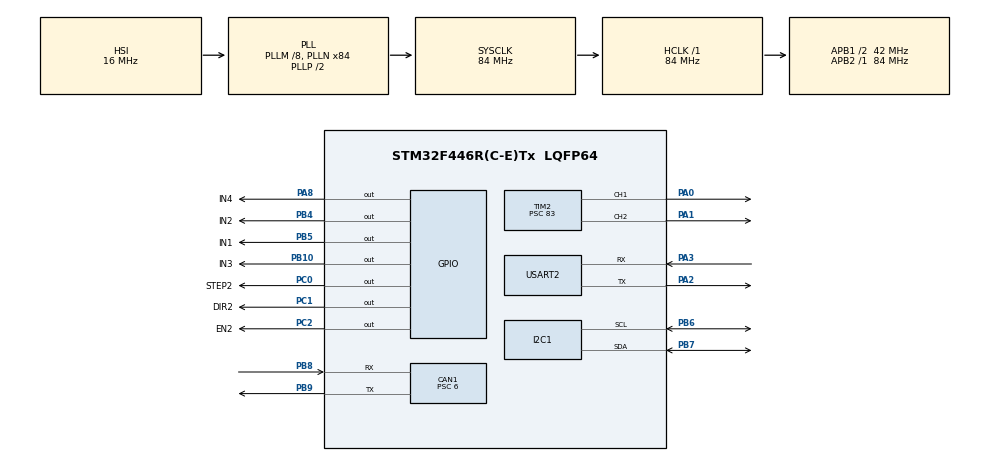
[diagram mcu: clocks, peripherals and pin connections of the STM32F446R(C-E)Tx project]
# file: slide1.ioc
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CAN1.BS1=CAN_BS1_11TQ
CAN1.BS2=CAN_BS2_2TQ
CAN1.CalculateBaudRate=500000
CAN1.CalculateTimeBit=2000
CAN1.CalculateTimeQuantum=142.85714285714286
CAN1.Prescaler=6
Mcu.Family=STM32F4
Mcu.Name=STM32F446R(C-E)Tx
Mcu.Package=LQFP64
NVIC.CAN1_RX0_IRQn=true\:0\:0\:false\:false\:true\:true\:true\:true
NVIC.CAN1_TX_IRQn=true\:0\:0\:false\:false\:true\:true\:true\:true
NVIC.PriorityGroup=NVIC_PRIORITYGROUP_4
PA0-WKUP.Signal=S_TIM2_CH1_ETR
PA1.Signal=S_TIM2_CH2
PA13.Mode=Serial_Wire
PA13.Signal=SYS_JTMS-SWDIO
PA14.Mode=Serial_Wire
PA14.Signal=SYS_JTCK-SWCLK
PA2.Mode=Asynchronous
PA2.Signal=USART2_TX
PA3.Mode=Asynchronous
PA3.Signal=USART2_RX
PA8.GPIO_Label=IN4
PA8.Signal=GPIO_Output
PB10.GPIO_Label=IN3
PB10.Signal=GPIO_Output
PB4.GPIO_Label=IN2
PB4.Signal=GPIO_Output
PB5.GPIO_Label=IN1
PB5.Signal=GPIO_Output
PB6.Mode=I2C
PB6.Signal=I2C1_SCL
PB7.Mode=I2C
PB7.Signal=I2C1_SDA
PB8.Mode=CAN_Activate
PB8.Signal=CAN1_RX
PB9.Mode=CAN_Activate
PB9.Signal=CAN1_TX
PC0.GPIO_Label=STEP2
PC0.Signal=GPIO_Output
PC1.GPIO_Label=DIR2
PC1.Signal=GPIO_Output
PC2.GPIO_Label=EN2
PC2.Signal=GPIO_Output
PH0-OSC_IN.Mode=HSE-External-Clock-Source
PH0-OSC_IN.Signal=RCC_OSC_IN
PH1-OSC_OUT.Mode=HSE-External-Clock-Source
PH1-OSC_OUT.Signal=RCC_OSC_OUT
ProjectManager.HeapSize=0x200
ProjectManager.StackSize=0x400
ProjectManager.TargetToolchain=CMake
RCC.AHBFreq_Value=84000000
RCC.APB1CLKDivider=RCC_HCLK_DIV2
RCC.APB1Freq_Value=42000000
RCC.APB1TimFreq_Value=84000000
RCC.APB2Freq_Value=84000000
RCC.APB2TimFreq_Value=84000000
RCC.CortexFreq_Value=84000000
RCC.HCLKFreq_Value=84000000
RCC.PLLM=8
RCC.PLLN=84
RCC.SYSCLKFreq_VALUE=84000000
RCC.SYSCLKSource=RCC_SYSCLKSOURCE_PLLCLK
RCC.USBFreq_Value=84000000
RCC.VCOOutputFreq_Value=168000000
SH.S_TIM2_CH1_ETR.0=TIM2_CH1,PWM Generation1 CH1
SH.S_TIM2_CH2.0=TIM2_CH2,PWM Generation2 CH2
TIM2.Channel-PWM\ Generation1\ CH1=TIM_CHANNEL_1
TIM2.Channel-PWM\ Generation2\ CH2=TIM_CHANNEL_2
TIM2.Period=19999
TIM2.Prescaler=83
USART2.VirtualMode=VM_ASYNC
VP_TIM2_VS_ClockSourceINT.Mode=Internal
board=custom

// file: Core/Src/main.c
/* USER CODE BEGIN Header */
/**
  ******************************************************************************
  * @file           : main.c
  * @brief          : Main program body
  ******************************************************************************
  * @attention
  *
  * Copyright (c) 2026 STMicroelectronics.
  * All rights reserved.
  *
  * This software is licensed under terms that can be found in the LICENSE file
  * in the root directory of this software component.
  * If no LICENSE file comes with this software, it is provided AS-IS.
  *
  ******************************************************************************
  */
/* USER CODE END Header */
#include "main.h"
#include "can.h"
#include "i2c.h"
#include "tim.h"
#include "usart.h"
#include "gpio.h"

/* USER CODE BEGIN Includes */
#include <stdio.h>      /* printf */
#include "slide.h"          /* 슬라이드 스텝모터 모듈 */
#include "servo.h"          /* 리클라인 서보(SG90 x2) 모듈 — TIM2 PWM */
#include "ina226.h"         /* 서보 전류센서(INA226 x2) — 안티핀치 */
#include "model_car_net.h"  /* cantools 생성 DBC 라이브러리 (프레임 ID/시그널 정식 정의) */
/* USER CODE END Includes */

/* USER CODE BEGIN PD */
/* 프레임 ID는 model_car_net.h(DBC)를 정식 기준으로 사용한다.
 *   HMI_Emergency        = 0x010  (기존 0x500 매직값은 폐기)
 *   Rear_Left_Seat_Cmd   = 0x120  / _Status = 0x220
 *   Rear_Right_Seat_Cmd  = 0x121  / _Status = 0x221
 */
#define STATUS_PERIOD_MS 100       /* 상태 브로드캐스트 주기 */

/* 슬라이드 위치 센티넬: RL_Slide_Position(0~100mm) 범위 밖 값으로 특수 명령 표현.
 *   255 = 재영점("여기를 0으로", 모터 안 움직임)  — cantest.py 'z'
 *   254 = 호밍("오른쪽 끝 시작점으로 가서 0점 잡기")  — cantest.py 'h'
 * 중간에서 부팅됐을 때 254로 실제 시작점까지 보낸 뒤 m<mm>를 쓰면 절대위치가 맞는다. */
#define SLIDE_REZERO_CMD 255
#define SLIDE_HOME_CMD   254

/* 안티핀치: 서보 전류센서(INA226) 7비트 주소 + 판정 파라미터.
 * 서보가 끼임으로 스톨되면 전류가 급상승(SG90 구동 ~150mA → 스톨 ~700mA). */
#define INA226_ADDR_RL    0x40     /* RL 리클라인 서보 전류 → rl_pinch_detected */
#define INA226_ADDR_RR    0x41     /* RR 리클라인 서보 전류 → rr_pinch_detected */
#define PINCH_CURRENT_MA  160      /* TODO(calibration): 끼임 판정 전류 임계값(mA) */
#define PINCH_DEBOUNCE    3        /* 연속 N회 초과 시 확정(돌입전류 오검출 방지) */
#define PINCH_PERIOD_MS   20       /* 전류 폴링 주기 */
#define PINCH_BACKOFF_DEG 15       /* 끼임 시 서보를 이 각만큼 후퇴시켜 압력 해제 */
#define PINCH_DEBUG       1        /* 1=서보 전류를 300ms마다 UART 출력(진단/임계값 보정용). 끝나면 0 */
/* USER CODE END PD */

/* USER CODE BEGIN PV */
/* 리클라인 각도는 servo 모듈이 보관(servo_get_deg)하므로 별도 에코 변수 불필요 */
uint8_t  cmd_cargo_lamp = 0;       /* TODO: 램프 GPIO */
uint8_t  pinch_rl       = 0;       /* INA226 안티핀치: 1=RL 서보 끼임 감지(래치) */
uint8_t  pinch_rr       = 0;       /* 1=RR 서보 끼임 감지(래치) */
uint32_t lastStatusTick = 0;
static uint8_t ina_ok_rl = 0;      /* INA226(RL) 장착 여부 — 미장착이면 모니터 skip */
static uint8_t ina_ok_rr = 0;      /* INA226(RR) 장착 여부 */
/* USER CODE END PV */

void SystemClock_Config(void);
/* USER CODE BEGIN PFP */
static void CAN_Config(void);
static void send_status(void);
static void pinch_service(void);
#if PINCH_DEBUG
static void i2c_scan(void);
#endif
/* USER CODE END PFP */

int main(void)
{

  /* MCU Configuration--------------------------------------------------------*/

  /* Reset of all peripherals, Initializes the Flash interface and the Systick. */
  HAL_Init();

  /* Configure the system clock */
  SystemClock_Config();

  /* Initialize all configured peripherals */
  MX_GPIO_Init();
  MX_CAN1_Init();
  MX_USART2_UART_Init();
  MX_TIM2_Init();                     /* 리클라인 서보용 50Hz PWM (PA0/PA1) */
  MX_I2C1_Init();                     /* INA226 전류센서 버스 (PB6/PB7) */
  /* USER CODE BEGIN 2 */
  CAN_Config();
  slide_init();
  servo_init();                       /* 리클라인 서보 PWM 시작(두 채널 0°) */
  ina_ok_rl = ina226_init(INA226_ADDR_RL);   /* 미장착이면 0 → 해당 축 모니터 skip */
  ina_ok_rr = ina226_init(INA226_ADDR_RR);
  printf("Rear_Zone_ECU boot (INA226 RL=%u RR=%u)\r\n", ina_ok_rl, ina_ok_rr);
#if PINCH_DEBUG
  i2c_scan();                                 /* 버스에 응답하는 I2C 주소 출력(진단) */
#endif
  slide_home();                       /* 부팅 시 0점 잡기 */
  lastStatusTick = HAL_GetTick();
  /* USER CODE END 2 */

  /* Infinite loop */
  while (1)
  {

    /* USER CODE BEGIN 3 */
    slide_service();                  /* 논블로킹 슬라이드 이동 */
    servo_service();                  /* 논블로킹 서보 램프(속도 제한) */
    pinch_service();                  /* 논블로킹 서보 전류 감시(안티핀치) */

    if (HAL_GetTick() - lastStatusTick >= STATUS_PERIOD_MS) {
      lastStatusTick += STATUS_PERIOD_MS;
      send_status();
    }
  }
  /* USER CODE END 3 */
}

void SystemClock_Config(void)
{
  RCC_OscInitTypeDef RCC_OscInitStruct = {0};
  RCC_ClkInitTypeDef RCC_ClkInitStruct = {0};

  /** Configure the main internal regulator output voltage
  */
  __HAL_RCC_PWR_CLK_ENABLE();
  __HAL_PWR_VOLTAGESCALING_CONFIG(PWR_REGULATOR_VOLTAGE_SCALE3);

  /** Initializes the RCC Oscillators according to the specified parameters
  * in the RCC_OscInitTypeDef structure.
  */
  RCC_OscInitStruct.OscillatorType = RCC_OSCILLATORTYPE_HSI;
  RCC_OscInitStruct.HSIState = RCC_HSI_ON;
  RCC_OscInitStruct.HSICalibrationValue = RCC_HSICALIBRATION_DEFAULT;
  RCC_OscInitStruct.PLL.PLLState = RCC_PLL_ON;
  RCC_OscInitStruct.PLL.PLLSource = RCC_PLLSOURCE_HSI;
  RCC_OscInitStruct.PLL.PLLM = 8;
  RCC_OscInitStruct.PLL.PLLN = 84;
  RCC_OscInitStruct.PLL.PLLP = RCC_PLLP_DIV2;
  RCC_OscInitStruct.PLL.PLLQ = 2;
  RCC_OscInitStruct.PLL.PLLR = 2;
  if (HAL_RCC_OscConfig(&RCC_OscInitStruct) != HAL_OK)
  {
    Error_Handler();
  }

  /** Initializes the CPU, AHB and APB buses clocks
  */
  RCC_ClkInitStruct.ClockType = RCC_CLOCKTYPE_HCLK|RCC_CLOCKTYPE_SYSCLK
                              |RCC_CLOCKTYPE_PCLK1|RCC_CLOCKTYPE_PCLK2;
  RCC_ClkInitStruct.SYSCLKSource = RCC_SYSCLKSOURCE_PLLCLK;
  RCC_ClkInitStruct.AHBCLKDivider = RCC_SYSCLK_DIV1;
  RCC_ClkInitStruct.APB1CLKDivider = RCC_HCLK_DIV2;
  RCC_ClkInitStruct.APB2CLKDivider = RCC_HCLK_DIV1;

  if (HAL_RCC_ClockConfig(&RCC_ClkInitStruct, FLASH_LATENCY_2) != HAL_OK)
  {
    Error_Handler();
  }
}

/* USER CODE BEGIN 4 */

/* printf → USART2 (ST-Link VCP) 리타게팅.
 * syscalls.c 의 weak _write 가 문자마다 __io_putchar 를 호출한다. */
int __io_putchar(int ch)
{
  HAL_UART_Transmit(&huart2, (uint8_t *)&ch, 1, HAL_MAX_DELAY);
  return ch;
}

/* CAN: 필터(전부 통과) + 시작 + 수신 인터럽트 활성화.
 * NVIC enable 은 can.c 의 MspInit 에서 이미 했으므로 여기선 하지 않는다. */
static void CAN_Config(void)
{
  CAN_FilterTypeDef f = {0};
  f.FilterBank           = 0;
  f.FilterMode           = CAN_FILTERMODE_IDMASK;
  f.FilterScale          = CAN_FILTERSCALE_32BIT;
  f.FilterIdHigh         = 0x0000;
  f.FilterIdLow          = 0x0000;
  f.FilterMaskIdHigh     = 0x0000;   /* mask 0 = 전부 통과 */
  f.FilterMaskIdLow      = 0x0000;
  f.FilterFIFOAssignment = CAN_RX_FIFO0;
  f.FilterActivation     = ENABLE;

  HAL_CAN_ConfigFilter(&hcan1, &f);
  HAL_CAN_Start(&hcan1);
  HAL_CAN_ActivateNotification(&hcan1, CAN_IT_RX_FIFO0_MSG_PENDING);
}

/* 상태 브로드캐스트: 0x220(좌), 0x221(우). DBC pack 함수로 직렬화 */
static void send_status(void)
{
  CAN_TxHeaderTypeDef tx = {0};
  uint32_t mbx;
  uint8_t  d[8] = {0};

  tx.IDE = CAN_ID_STD;
  tx.RTR = CAN_RTR_DATA;

  /* 0x220 Rear_Left_Seat_Status */
  struct model_car_net_rear_left_seat_status_t rl = {
    .curr_rl_recline   = servo_get_deg(SERVO_RL),  /* RL 리클라인 서보 지령각(°) */
    .rl_pinch_detected = pinch_rl,                 /* INA226 안티핀치 결과(래치) */
  };
  tx.StdId = MODEL_CAR_NET_REAR_LEFT_SEAT_STATUS_FRAME_ID;
  tx.DLC   = (uint32_t)model_car_net_rear_left_seat_status_pack(d, &rl, sizeof(d));
  HAL_CAN_AddTxMessage(&hcan1, &tx, d, &mbx);

  /* 0x221 Rear_Right_Seat_Status */
  struct model_car_net_rear_right_seat_status_t rr = {
    .curr_rr_recline   = servo_get_deg(SERVO_RR),  /* RR 리클라인 서보 지령각(°) */
    .rr_pinch_detected = pinch_rr,
  };
  tx.StdId = MODEL_CAR_NET_REAR_RIGHT_SEAT_STATUS_FRAME_ID;
  tx.DLC   = (uint32_t)model_car_net_rear_right_seat_status_pack(d, &rr, sizeof(d));
  HAL_CAN_AddTxMessage(&hcan1, &tx, d, &mbx);
}

/* CAN 수신 콜백 — DBC unpack 으로 시그널을 풀어 slide 모듈로 전달한다(분리 유지).
 * unpack 의 size 인자는 소스 버퍼 크기(8). d 를 0으로 초기화했으므로 DLC 가 짧아도
 * 미수신 바이트는 0으로 읽힌다. */
void HAL_CAN_RxFifo0MsgPendingCallback(CAN_HandleTypeDef *hcan)
{
  CAN_RxHeaderTypeDef rx;
  uint8_t d[8] = {0};

  if (HAL_CAN_GetRxMessage(hcan, CAN_RX_FIFO0, &rx, d) != HAL_OK) return;

  switch (rx.StdId) {

    case MODEL_CAR_NET_HMI_EMERGENCY_FRAME_ID: {       /* 0x010: 최고 우선 처리 */
      struct model_car_net_hmi_emergency_t m;
      if (model_car_net_hmi_emergency_unpack(&m, d, sizeof(d)) == 0)
        slide_estop(m.emergency_stop_flag);            /* 1=래치 정지, 0=해제 */
      break;
    }

    case MODEL_CAR_NET_REAR_LEFT_SEAT_CMD_FRAME_ID: {  /* 0x120: 좌석 좌 */
      struct model_car_net_rear_left_seat_cmd_t m;
      if (model_car_net_rear_left_seat_cmd_unpack(&m, d, sizeof(d)) == 0) {
        pinch_rl = 0;                                  /* 새 명령 = 끼임 해소 간주, 래치 해제 */
        servo_set_deg(SERVO_RL, m.rl_recline_angle);   /* 리클라인 SG90 서보(좌) */
        if (m.rl_slide_position == SLIDE_REZERO_CMD)
          slide_rezero(SLIDE_RL);                       /* 255 = 현재 위치를 0점으로 재설정 */
        else if (m.rl_slide_position == SLIDE_HOME_CMD)
          slide_seek_home(SLIDE_RL);                    /* 254 = 오른쪽 끝(시작점)으로 호밍 */
        else
          slide_set_target_mm(SLIDE_RL, m.rl_slide_position);  /* RL 슬라이드 축(PB5/PB4/PB10) */
      }
      break;
    }

    case MODEL_CAR_NET_REAR_RIGHT_SEAT_CMD_FRAME_ID: { /* 0x121: 좌석 우 */
      struct model_car_net_rear_right_seat_cmd_t m;
      if (model_car_net_rear_right_seat_cmd_unpack(&m, d, sizeof(d)) == 0) {
        pinch_rr = 0;                                  /* 새 명령 = 끼임 해소 간주, 래치 해제 */
        servo_set_deg(SERVO_RR, m.rr_recline_angle);   /* 리클라인 SG90 서보(우) */
        cmd_cargo_lamp = m.cargo_lamp_status;          /* TODO 램프 GPIO */
        if (m.rr_slide_position == SLIDE_REZERO_CMD)
          slide_rezero(SLIDE_RR);                      /* 255 = 현재 위치를 0점으로 재설정 */
        else if (m.rr_slide_position == SLIDE_HOME_CMD)
          slide_seek_home(SLIDE_RR);                   /* 254 = 오른쪽 끝(시작점)으로 호밍 */
        else
          slide_set_target_mm(SLIDE_RR, m.rr_slide_position);  /* RR 슬라이드 축(PC0/PC1/PC2) */
      }
      break;
    }

    default:
      break;
  }
}

#if PINCH_DEBUG
/* I2C1 버스 스캐너: 0x01~0x7F 주소에 ACK가 오는 장치를 출력(부팅 1회 진단).
 *   - 아무것도 안 나오면 → 전원/풀업/배선(SDA·SCL) 문제 (버스 자체가 죽음)
 *   - 0x40/0x41 아닌 다른 주소가 나오면 → 모듈 주소가 다른 것(A0/A1 핀) */
static void i2c_scan(void)
{
  printf("I2C scan:");
  uint8_t found = 0;
  for (uint8_t a = 1; a < 128; a++) {
    if (HAL_I2C_IsDeviceReady(&hi2c1, (uint16_t)(a << 1), 2, 5) == HAL_OK) {
      printf(" 0x%02X", a);
      found++;
    }
  }
  printf(found ? "\r\n" : " (없음 - 전원/풀업/배선 확인)\r\n");
}
#endif

/* 안티핀치: 두 서보의 전류를 주기적으로 읽어 스톨(끼임)을 감지한다.
 * 임계 전류를 PINCH_DEBOUNCE회 연속 넘으면 끼임 확정 → pinch 래치 ON(상태로 보고)
 * + 서보를 PINCH_BACKOFF_DEG 만큼 후퇴시켜 압력을 해제한다.
 * 미장착 센서(ina_ok=0)는 건너뛴다. 래치는 새 명령 수신 시 해제(RxCallback). */
static void pinch_service(void)
{
  static uint32_t lastTick = 0;
  static uint8_t  cntRL = 0, cntRR = 0;

  uint32_t now = HAL_GetTick();

#if PINCH_DEBUG
  /* 진단: 300ms마다 두 서보 전류·센서인식·핀치상태를 UART로 출력.
   * 막았을 때 mA가 얼마나 뛰는지 보고 PINCH_CURRENT_MA 를 그 아래로 맞춘다. */
  static uint32_t lastDbgTick = 0;
  if (now - lastDbgTick >= 300) {
    lastDbgTick = now;
    int32_t iRL = ina226_read_current_mA(INA226_ADDR_RL);
    int32_t iRR = ina226_read_current_mA(INA226_ADDR_RR);
    printf("INA RL(ok%u) %ldmA | RR(ok%u) %ldmA | pinch[%u %u]\r\n",
           ina_ok_rl, (long)iRL, ina_ok_rr, (long)iRR, pinch_rl, pinch_rr);
  }
#endif

  if (now - lastTick < PINCH_PERIOD_MS) return;       /* 폴링 주기 throttle */
  lastTick = now;

  if (ina_ok_rl) {
    int32_t i = ina226_read_current_mA(INA226_ADDR_RL);
    if (i < 0) i = -i;                                 /* 배선 방향 무관, 절대전류 */
    if (i > PINCH_CURRENT_MA) {
      if (++cntRL >= PINCH_DEBOUNCE) {
        cntRL = 0;
        pinch_rl = 1;
        servo_pinch_relief(SERVO_RL, PINCH_BACKOFF_DEG);   /* 진행 반대로 후퇴+정지 */
      }
    } else {
      cntRL = 0;
    }
  }

  if (ina_ok_rr) {
    int32_t i = ina226_read_current_mA(INA226_ADDR_RR);
    if (i < 0) i = -i;
    if (i > PINCH_CURRENT_MA) {
      if (++cntRR >= PINCH_DEBOUNCE) {
        cntRR = 0;
        pinch_rr = 1;
        servo_pinch_relief(SERVO_RR, PINCH_BACKOFF_DEG);   /* 진행 반대로 후퇴+정지 */
      }
    } else {
      cntRR = 0;
    }
  }
}

/* USER CODE END 4 */

void Error_Handler(void)
{
  __disable_irq();
  while (1)
  {
  }
}
